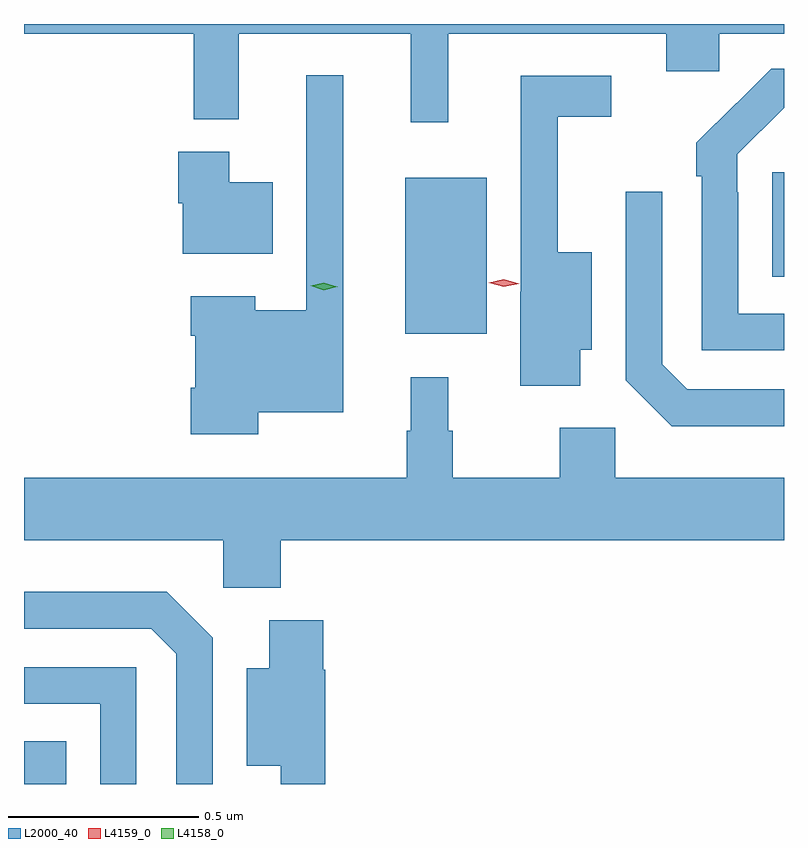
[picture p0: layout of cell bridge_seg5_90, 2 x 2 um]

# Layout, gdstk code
import gdstk
lib = gdstk.Library(unit=1e-6, precision=1e-09)
def R(c, l, rs):  # rectangles x0, y0, x1, y1
    for r in rs: c.add(gdstk.rectangle(r[:2], r[2:], *l))
def P(c, l, *ps):  # polygons
    for p in ps: c.add(gdstk.Polygon(p, *l))
L2000_40 = (2000, 40)
L4158_0 = (4158, 0)
L4159_0 = (4159, 0)

bridge_seg5_90 = lib.new_cell('bridge_seg5_90')
R(bridge_seg5_90, L2000_40, [(317.23,849.458,317.341,849.571), (318.233,850.643,318.448,851.053), (319.199,850.793,319.23,851.068)])
P(bridge_seg5_90, L2000_40, [(318.347,851.432),(318.92,851.432),(318.92,851.334),(319.059,851.334),(319.059,851.432),(319.23,851.432),(319.23,851.458),(317.23,851.458),(317.23,851.432),(317.677,851.432),(317.677,851.207),(317.795,851.207),(317.795,851.432),(318.248,851.432),(318.248,851.199),(318.347,851.199)],
  [(319.23,850.695),(319.11,850.695),(319.11,851.015),(319.107,851.015),(319.107,851.115),(319.23,851.238),(319.23,851.34),(319.196,851.34),(319.105,851.249),(319.104,851.25),(318.999,851.145),(318.999,851.057),(319.014,851.057),(319.014,850.599),(319.23,850.599)],
  [(317.847,850.436),(318.07,850.436),(318.07,851.323),(317.973,851.323),(317.973,850.705),(317.839,850.705),(317.839,850.741),(317.669,850.741),(317.669,850.637),(317.681,850.637),(317.681,850.501),(317.669,850.501),(317.669,850.379),(317.847,850.379)],
  [(318.694,850.601),(318.724,850.601),(318.724,850.858),(318.635,850.858),(318.635,851.214),(318.775,851.214),(318.775,851.322),(318.537,851.322),(318.537,850.754),(318.536,850.754),(318.536,850.506),(318.694,850.506)],
  [(317.884,851.041),(317.77,851.041),(317.77,851.122),(317.636,851.122),(317.636,850.986),(317.648,850.986),(317.648,850.853),(317.884,850.853)],
  [(319.23,850.497),(318.975,850.497),(318.909,850.563),(318.909,851.017),(318.813,851.017),(318.813,850.521),(318.934,850.4),(319.23,850.4)],
  [(317.906,850.1),(319.23,850.1),(319.23,850.264),(318.786,850.264),(318.786,850.396),(318.64,850.396),(318.64,850.264),(318.358,850.264),(318.358,850.388),(318.347,850.388),(318.347,850.528),(318.248,850.528),(318.248,850.388),(318.237,850.388),(318.237,850.264),(317.23,850.264),(317.23,850.1),(317.754,850.1),(317.754,849.974),(317.906,849.974)],
  [(317.727,849.843),(317.606,849.964),(317.23,849.964),(317.23,849.867),(317.565,849.867),(317.631,849.801),(317.631,849.458),(317.727,849.458)],
  [(318.023,849.759),(318.017,849.759),(318.017,849.889),(317.876,849.889),(317.876,849.763),(317.816,849.763),(317.816,849.506),(317.906,849.506),(317.906,849.458),(318.023,849.458)],
  [(317.526,849.765),(317.23,849.765),(317.23,849.669),(317.43,849.669),(317.43,849.458),(317.526,849.458)])
P(bridge_seg5_90, L4158_0, [(318.019,850.757),(317.984,850.769),(317.983,850.769),(317.984,850.769),(318.019,850.777),(318.054,850.766),(318.055,850.766),(318.054,850.766)])
P(bridge_seg5_90, L4159_0, [(318.493,850.766),(318.453,850.777),(318.453,850.777),(318.453,850.777),(318.493,850.786),(318.533,850.775),(318.533,850.775),(318.533,850.774)])

lib.write_gds('bridge_seg5_90.gds')
